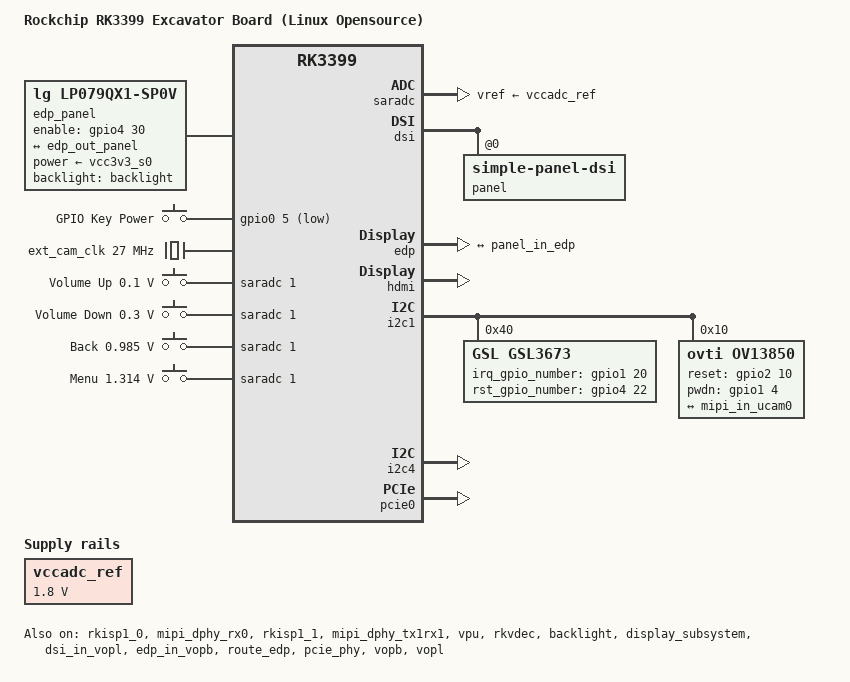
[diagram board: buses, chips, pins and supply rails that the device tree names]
// SPDX-License-Identifier: (GPL-2.0+ OR MIT)
/*
 * Copyright (c) 2019 Fuzhou Rockchip Electronics Co., Ltd.
 */

/dts-v1/;

#include "rk3399-excavator-sapphire.dtsi"
#include "rk3399-linux.dtsi"
#include <dt-bindings/input/input.h>

/ {
	model = "Rockchip RK3399 Excavator Board (Linux Opensource)";
	compatible = "rockchip,rk3399-excavator-linux", "rockchip,rk3399";

	fiq_debugger: fiq-debugger {
		compatible = "rockchip,fiq-debugger";
		rockchip,serial-id = <2>;
		rockchip,signal-irq = <182>;
		rockchip,wake-irq = <0>;
		rockchip,irq-mode-enable = <1>;  /* If enable uart uses irq instead of fiq */
		rockchip,baudrate = <1500000>;  /* Only 115200 and 1500000 */
		pinctrl-names = "default";
		pinctrl-0 = <&uart2c_xfer>;
	};

	edp_panel: edp-panel {
		compatible = "lg,lp079qx1-sp0v", "panel-simple";
		backlight = <&backlight>;
		power-supply = <&vcc3v3_s0>;
		enable-gpios = <&gpio4 30 GPIO_ACTIVE_HIGH>;
		pinctrl-names = "default";
		pinctrl-0 = <&lcd_panel_reset>;

		ports {
			panel_in_edp: endpoint {
				remote-endpoint = <&edp_out_panel>;
			};
		};
	};

	hdmi_sound: hdmi-sound {
		status = "okay";
	};

	gpio-keys {
		compatible = "gpio-keys";
		#address-cells = <1>;
		#size-cells = <0>;
		autorepeat;

		pinctrl-names = "default";
		pinctrl-0 = <&pwrbtn>;

		button@0 {
			gpios = <&gpio0 5 GPIO_ACTIVE_LOW>;
			linux,code = <KEY_POWER>;
			label = "GPIO Key Power";
			linux,input-type = <1>;
			gpio-key,wakeup = <1>;
			debounce-interval = <100>;
		};
	};

	vccadc_ref: vccadc-ref {
		compatible = "regulator-fixed";
		regulator-name = "vcc1v8_sys";
		regulator-always-on;
		regulator-boot-on;
		regulator-min-microvolt = <1800000>;
		regulator-max-microvolt = <1800000>;
	};

	ext_cam_clk: external-camera-clock {
		compatible = "fixed-clock";
		clock-frequency = <27000000>;
		clock-output-names = "CLK_CAMERA_27MHZ";
		#clock-cells = <0>;
	};

	adc-keys {
		compatible = "adc-keys";
		io-channels = <&saradc 1>;
		io-channel-names = "buttons";
		poll-interval = <100>;
		keyup-threshold-microvolt = <1800000>;

		button-up {
			label = "Volume Up";
			linux,code = <KEY_VOLUMEUP>;
			press-threshold-microvolt = <100000>;
		};

		button-down {
			label = "Volume Down";
			linux,code = <KEY_VOLUMEDOWN>;
			press-threshold-microvolt = <300000>;
		};

		back {
			label = "Back";
			linux,code = <KEY_BACK>;
			press-threshold-microvolt = <985000>;
		};

		menu {
			label = "Menu";
			linux,code = <KEY_MENU>;
			press-threshold-microvolt = <1314000>;
		};
	};
};

&rkisp1_0 {
	status = "okay";

	port {
		#address-cells = <1>;
		#size-cells = <0>;

		isp0_mipi_in: endpoint@0 {
			reg = <0>;
			remote-endpoint = <&dphy_rx0_out>;
		};
	};
};

&mipi_dphy_rx0 {
	status = "okay";

	ports {
		#address-cells = <1>;
		#size-cells = <0>;

		port@0 {
			reg = <0>;
			#address-cells = <1>;
			#size-cells = <0>;

			mipi_in_ucam0: endpoint@1 {
				reg = <1>;
				remote-endpoint = <&ucam_out0>;
				data-lanes = <1 2>;
			};
		};

		port@1 {
			reg = <1>;
			#address-cells = <1>;
			#size-cells = <0>;

			dphy_rx0_out: endpoint@0 {
				reg = <0>;
				remote-endpoint = <&isp0_mipi_in>;
			};
		};
	};
};

&isp0_mmu {
	status = "okay";
};

&rkisp1_1 {
	status = "okay";

	port {
		#address-cells = <1>;
		#size-cells = <0>;

		isp1_mipi_in: endpoint@0 {
			reg = <0>;
			remote-endpoint = <&dphy_tx1rx1_out>;
		};
	};
};

&mipi_dphy_tx1rx1 {
	status = "okay";

	ports {
		#address-cells = <1>;
		#size-cells = <0>;

		port@0 {
			reg = <0>;
			#address-cells = <1>;
			#size-cells = <0>;

			mipi_in_ucam1: endpoint@1 {
				reg = <1>;
				/* Unlinked camera */
				//remote-endpoint = <&ucam_out1>;
				data-lanes = <1 2>;
			};
		};

		port@1 {
			reg = <1>;
			#address-cells = <1>;
			#size-cells = <0>;

			dphy_tx1rx1_out: endpoint@0 {
				reg = <0>;
				remote-endpoint = <&isp1_mipi_in>;
			};
		};
	};
};

&isp1_mmu {
	status = "okay";
};

&saradc {
	vref-supply = <&vccadc_ref>;
};

&vpu {
	status = "okay";
	/* 0 means ion, 1 means drm */
	//allocator = <0>;
};

&rkvdec {
	status = "okay";
	/* 0 means ion, 1 means drm */
	//allocator = <0>;
};

&backlight {
	status = "okay";
	enable-gpios = <&gpio1 13 GPIO_ACTIVE_HIGH>;
};

&cdn_dp {
	status = "disabled";
};

&display_subsystem {
	status = "okay";
};

&dsi_in_vopl {
	status = "okay";
};

&dsi_in_vopb {
	status = "disabled";
};

&dsi {
	status = "okay";

	panel@0 {
		compatible ="simple-panel-dsi";
		reg = <0>;

		dsi,flags = <(MIPI_DSI_MODE_VIDEO | MIPI_DSI_MODE_VIDEO_BURST)>;
		dsi,format = <MIPI_DSI_FMT_RGB888>;
		dsi,lanes = <4>;

		display-timings {
			native-mode = <&timing0_720p_30hz>;

			timing0_720p_30hz: timing0-720p-30hz {
				clock-frequency = <96000000>;
				hactive = <1280>;
				vactive = <720>;
				hback-porch = <200>;
				hfront-porch = <1000>;
				vback-porch = <100>;
				vfront-porch = <200>;
				hsync-len = <200>;
				vsync-len = <200>;
				hsync-active = <0>;
				vsync-active = <0>;
				de-active = <0>;
				pixelclk-active = <0>;
			};

			timing1_1080p_30hz: timing0-1080p-30hz {
				clock-frequency = <76000000>;
				hactive = <1920>;
				vactive = <1080>;
				hback-porch = <100>;
				hfront-porch = <200>;
				vback-porch = <10>;
				vfront-porch = <10>;
				hsync-len = <20>;
				vsync-len = <20>;
				hsync-active = <0>;
				vsync-active = <0>;
				de-active = <0>;
				pixelclk-active = <0>;
			};

			timing2_1080p_87hz: timing1-1080p-87hz {
				clock-frequency = <220000000>;
				hactive = <1920>;
				vactive = <1080>;
				hback-porch = <200>;
				hfront-porch = <120>;
				vback-porch = <20>;
				vfront-porch = <2>;
				hsync-len = <20>;
				vsync-len = <10>;
				hsync-active = <0>;
				vsync-active = <0>;
				de-active = <0>;
				pixelclk-active = <0>;
			};
		};
	};
};

&edp_in_vopl {
	status = "disabled";
};

&edp_in_vopb {
	status = "okay";
};

&route_edp {
	status = "okay";
};

&edp {
	force-hpd;
	status = "okay";

	ports {
		edp_out: port@1 {
			reg = <1>;
			#address-cells = <1>;
			#size-cells = <0>;

			edp_out_panel: endpoint@0 {
				reg = <0>;
				remote-endpoint = <&panel_in_edp>;
			};
		};
	};
};

&hdmi {
	/* remove the hdmi_cec, reused by edp_hpd */
	pinctrl-0 = <&hdmi_i2c_xfer>;
	#address-cells = <1>;
	#size-cells = <0>;
	#sound-dai-cells = <0>;
	status = "okay";
};

&i2c1 {
	status = "okay";

	gsl3673: gsl3673@40 {
		compatible = "GSL,GSL3673";
		reg = <0x40>;
		screen_max_x = <1536>;
		screen_max_y = <2048>;
		irq_gpio_number = <&gpio1 20 IRQ_TYPE_LEVEL_LOW>;
		rst_gpio_number = <&gpio4 22 GPIO_ACTIVE_HIGH>;
	};

	tc358749x: tc358749x@f {
		compatible = "toshiba,tc358749";
		reg = <0xf>;
		clocks = <&ext_cam_clk>;
		clock-names = "refclk";
		reset-gpios = <&gpio2 7 GPIO_ACTIVE_LOW>;
		interrupt-parent = <&gpio2>;
		interrupts = <12 IRQ_TYPE_LEVEL_LOW>;
		pinctrl-names = "default";
		pinctrl-0 = <&hdmiin_gpios>;
		status = "disabled";
		port {
			hdmiin_out0: endpoint {
				/* Unlinked mipi dphy rx0 */
				//remote-endpoint = <&mipi_in_ucam0>;
				data-lanes = <1 2 3 4>;
				clock-noncontinuous;
				link-frequencies =
					/bits/ 64 <297000000>;
			};
		};
	};

	ov13850: ov13850@10 {
		compatible = "ovti,ov13850";
		status = "okay";
		reg = <0x10>;
		clocks = <&cru SCLK_CIF_OUT>;
		clock-names = "xvclk";

		/* conflict with csi-ctl-gpios */
		reset-gpios = <&gpio2 10 GPIO_ACTIVE_HIGH>;
		pwdn-gpios = <&gpio1 4 GPIO_ACTIVE_HIGH>;
		pinctrl-names = "rockchip,camera_default";
		pinctrl-0 = <&cif_clkout>;

		port {
			ucam_out0: endpoint {
				remote-endpoint = <&mipi_in_ucam0>;
				data-lanes = <1 2>;
			};
		};
	};
};

&i2c4 {
	status = "okay";
};

&pcie_phy {
	status = "okay";
};

&pcie0 {
	status = "okay";
};

&pinctrl {
	buttons {
		pwrbtn: pwrbtn {
			rockchip,pins = <0 5 RK_FUNC_GPIO &pcfg_pull_up>;
		};
	};

	lcd-panel {
		lcd_panel_reset: lcd-panel-reset {
			rockchip,pins = <4 30 RK_FUNC_GPIO &pcfg_pull_up>;
		};
	};

	hdmiin {
		hdmiin_gpios: hdmiin-gpios {
			rockchip,pins =
				<2 5 RK_FUNC_GPIO &pcfg_output_high>,
				<2 6 RK_FUNC_GPIO &pcfg_output_high>,
				<2 7 RK_FUNC_GPIO &pcfg_pull_none>,
				<2 8 RK_FUNC_GPIO &pcfg_output_high>,
				<2 9 RK_FUNC_GPIO &pcfg_output_high>,
				<2 10 RK_FUNC_GPIO &pcfg_output_low>,
				<2 12 RK_FUNC_GPIO &pcfg_pull_none>;
		};
	};
};

&vopb {
	status = "okay";
};

&vopb_mmu {
	status = "okay";
};

&vopl {
	status = "okay";
};

&vopl_mmu {
	status = "okay";
};
